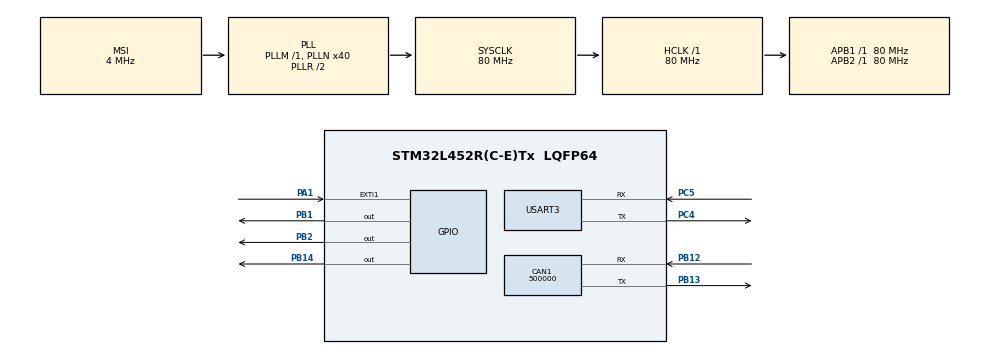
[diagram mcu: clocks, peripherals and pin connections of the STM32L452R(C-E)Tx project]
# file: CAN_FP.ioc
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Mcu.Family=STM32L4
RCC.MSI_VALUE=4000000
NVIC.CAN1_RX1_IRQn=true\:0\:0\:false\:false\:true\:true\:true
RCC.CortexFreq_Value=80000000
PA13\ (JTMS/SWDIO).Mode=Serial_Wire
PH0-OSC_IN\ (PH0).Signal=RCC_OSC_IN
CAN1.CalculateBaudRate=500000
PC4.Signal=USART3_TX
USART3.SwapParam=ADVFEATURE_SWAP_DISABLE
PC5.Mode=Asynchronous
PB13.Signal=CAN1_TX
PH1-OSC_OUT\ (PH1).Signal=RCC_OSC_OUT
RCC.SYSCLKSource=RCC_SYSCLKSOURCE_PLLCLK
ProjectManager.StackSize=0x400
USART3.VirtualMode-Asynchronous=VM_ASYNC
NVIC.EXTI1_IRQn=true\:0\:0\:false\:false\:true\:true\:true
PA14\ (JTCK/SWCLK).Signal=SYS_JTCK-SWCLK
CAN1.BS2=CAN_BS2_4TQ
CAN1.BS1=CAN_BS1_5TQ
ProjectManager.TargetToolchain=STM32CubeIDE
NVIC.CAN1_TX_IRQn=true\:0\:0\:false\:false\:true\:true\:true
RCC.HCLKFreq_Value=80000000
RCC.APB2TimFreq_Value=80000000
RCC.USBFreq_Value=16000000
NVIC.CAN1_SCE_IRQn=true\:0\:0\:false\:false\:true\:true\:true
RCC.LSE_VALUE=32768
PA1.Signal=GPXTI1
RCC.AHBFreq_Value=80000000
PB14.Signal=GPIO_Output
PH1-OSC_OUT\ (PH1).Mode=HSE-External-Oscillator
RCC.HSE_VALUE=8000000
PB2.Signal=GPIO_Output
board=custom
RCC.VCOOutputFreq_Value=160000000
RCC.APB2Freq_Value=80000000
RCC.ADCFreq_Value=16000000
PA14\ (JTCK/SWCLK).Mode=Serial_Wire
Mcu.Name=STM32L452R(C-E)Tx
RCC.SYSCLKFreq_VALUE=80000000
Mcu.Package=LQFP64
PB1.Signal=GPIO_Output
PB12.Mode=CAN_Activate
ProjectManager.HeapSize=0x200
RCC.HSI_VALUE=16000000
NVIC.PriorityGroup=NVIC_PRIORITYGROUP_4
RCC.PLLN=40
RCC.APB1TimFreq_Value=80000000
PC5.Signal=USART3_RX
PB13.Mode=CAN_Activate
RCC.APB1Freq_Value=80000000
CAN1.CalculateTimeBit=2000.00
PH0-OSC_IN\ (PH0).Mode=HSE-External-Oscillator
PB12.Signal=CAN1_RX
PC4.Mode=Asynchronous
NVIC.CAN1_RX0_IRQn=true\:0\:0\:false\:false\:true\:true\:true
RCC.HSI48_VALUE=48000000
PA13\ (JTMS/SWDIO).Signal=SYS_JTMS-SWDIO
CAN1.CalculateTimeQuantum=200.0

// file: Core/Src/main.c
/* USER CODE BEGIN Header */
/**
  ******************************************************************************
  * @file           : main.c
  * @brief          : Main program body
  ******************************************************************************
  * @attention
  *
  * <h2><center>&copy; Copyright (c) 2021 STMicroelectronics.
  * All rights reserved.</center></h2>
  *
  * This software component is licensed by ST under BSD 3-Clause license,
  * the "License"; You may not use this file except in compliance with the
  * License. You may obtain a copy of the License at:
  *                        opensource.org/licenses/BSD-3-Clause
  *
  ******************************************************************************
  */
/* USER CODE END Header */
#include "main.h"

CAN_HandleTypeDef hcan1;

UART_HandleTypeDef huart3;

/* USER CODE BEGIN PV */
//unsigned char arr[70]="1578922367.777150;1;14FEF131;1;8;8;0;0;0;CFFFFFF300FFFF30";
//int top = -1;
uint8_t i;
//CAN_Handler1 canh1;
//CAN_Handler1 canh2;
/* USER CODE END PV */

void SystemClock_Config(void);
static void MX_GPIO_Init(void);
static void MX_CAN1_Init(void);
static void MX_USART3_UART_Init(void);
/* USER CODE BEGIN PFP */

CAN_FilterTypeDef fil;
CAN_TxHeaderTypeDef txhead;
CAN_RxHeaderTypeDef rxhead;
/* USER CODE END PFP */

/* USER CODE BEGIN 0 */
void CAN_INIT_BRIDGE()
{
	 MX_CAN1_Init();

}
void CAN_STB_BRIDGE()
{
	HAL_GPIO_WritePin(GPIOB,GPIO_PIN_14,0);

}
void CAN_CONFIG_BRIDGE()
{
	can_fil_config();

}

void CAN_ACTIVATE_BRIDGE()
{

HAL_CAN_ActivateNotification(&hcan1, CAN_IT_TX_MAILBOX_EMPTY|CAN_IT_RX_FIFO0_MSG_PENDING|CAN_IT_ERROR);

}
void CAN_START_BRIDGE()
{
	 HAL_CAN_Start(&hcan1);

}
/* USER CODE END 0 */

int main(void)
{

  /* MCU Configuration--------------------------------------------------------*/

  /* Reset of all peripherals, Initializes the Flash interface and the Systick. */
  HAL_Init();

  /* Configure the system clock */
  SystemClock_Config();

  /* Initialize all configured peripherals */
  MX_GPIO_Init();
  MX_CAN1_Init();
  MX_USART3_UART_Init();
  /* USER CODE BEGIN 2 */
  //CAN_INIT(&canh1,CAN_INIT_BRIDGE,CAN_STB_BRIDGE,CAN_CONFIG_BRIDGE);//can_init,can_stb,can_congfig
  //CAN_ACTIVATE(&canh1,CAN_ACTIVATE_BRIDGE,CAN_START_BRIDGE);
  HAL_GPIO_WritePin(GPIOB,GPIO_PIN_14,0);
  can_fil_config();
  HAL_CAN_ActivateNotification(&hcan1,CAN_IT_RX_FIFO0_MSG_PENDING|CAN_IT_ERROR);
  if(HAL_CAN_Start(&hcan1)!=HAL_OK)
   {
 	  HAL_UART_Transmit(&huart3,"error in can_start\n\r", 20, 1000);
 	  Error_Handler();

   }
  //HAL_SuspendTick();
      //HAL_GPIO_WritePin(GPIOA, GPIO_PIN_1, GPIO_PIN_SET);//indication to sleep mode
      //HAL_PWR_EnterSLEEPMode(PWR_MAINREGULATOR_ON, PWR_SLEEPENTRY_WFI);
      //HAL_ResumeTick();
  can_tx(); can_tx();

  /* USER CODE END 2 */

  /* Infinite loop */
  /* USER CODE BEGIN WHILE */
  while (1)
  {
//	  HAL_GPIO_WritePin(GPIOA, GPIO_PIN_1, 1);
//	  HAL_Delay(1000);
//	  HAL_GPIO_WritePin(GPIOA, GPIO_PIN_1, 0);
//	  	  HAL_Delay(1000);
	  //can_tx();
    /* USER CODE END WHILE */

  }
}

void SystemClock_Config(void)
{
  RCC_OscInitTypeDef RCC_OscInitStruct = {0};
  RCC_ClkInitTypeDef RCC_ClkInitStruct = {0};
  RCC_PeriphCLKInitTypeDef PeriphClkInit = {0};

  /** Initializes the RCC Oscillators according to the specified parameters
  * in the RCC_OscInitTypeDef structure.
  */
  RCC_OscInitStruct.OscillatorType = RCC_OSCILLATORTYPE_MSI;
  RCC_OscInitStruct.MSIState = RCC_MSI_ON;
  RCC_OscInitStruct.MSICalibrationValue = 0;
  RCC_OscInitStruct.MSIClockRange = RCC_MSIRANGE_6;
  RCC_OscInitStruct.PLL.PLLState = RCC_PLL_ON;
  RCC_OscInitStruct.PLL.PLLSource = RCC_PLLSOURCE_MSI;
  RCC_OscInitStruct.PLL.PLLM = 1;
  RCC_OscInitStruct.PLL.PLLN = 40;
  RCC_OscInitStruct.PLL.PLLP = RCC_PLLP_DIV7;
  RCC_OscInitStruct.PLL.PLLQ = RCC_PLLQ_DIV2;
  RCC_OscInitStruct.PLL.PLLR = RCC_PLLR_DIV2;
  if (HAL_RCC_OscConfig(&RCC_OscInitStruct) != HAL_OK)
  {
    Error_Handler();
  }
  /** Initializes the CPU, AHB and APB buses clocks
  */
  RCC_ClkInitStruct.ClockType = RCC_CLOCKTYPE_HCLK|RCC_CLOCKTYPE_SYSCLK
                              |RCC_CLOCKTYPE_PCLK1|RCC_CLOCKTYPE_PCLK2;
  RCC_ClkInitStruct.SYSCLKSource = RCC_SYSCLKSOURCE_PLLCLK;
  RCC_ClkInitStruct.AHBCLKDivider = RCC_SYSCLK_DIV1;
  RCC_ClkInitStruct.APB1CLKDivider = RCC_HCLK_DIV1;
  RCC_ClkInitStruct.APB2CLKDivider = RCC_HCLK_DIV1;

  if (HAL_RCC_ClockConfig(&RCC_ClkInitStruct, FLASH_LATENCY_4) != HAL_OK)
  {
    Error_Handler();
  }
  PeriphClkInit.PeriphClockSelection = RCC_PERIPHCLK_USART3;
  PeriphClkInit.Usart3ClockSelection = RCC_USART3CLKSOURCE_PCLK1;
  if (HAL_RCCEx_PeriphCLKConfig(&PeriphClkInit) != HAL_OK)
  {
    Error_Handler();
  }
  /** Configure the main internal regulator output voltage
  */
  if (HAL_PWREx_ControlVoltageScaling(PWR_REGULATOR_VOLTAGE_SCALE1) != HAL_OK)
  {
    Error_Handler();
  }
}

static void MX_CAN1_Init(void)
{

  hcan1.Instance = CAN1;
  hcan1.Init.Prescaler = 16;
  hcan1.Init.Mode = CAN_MODE_NORMAL;
  hcan1.Init.SyncJumpWidth = CAN_SJW_1TQ;
  hcan1.Init.TimeSeg1 = CAN_BS1_5TQ;
  hcan1.Init.TimeSeg2 = CAN_BS2_4TQ;
  hcan1.Init.TimeTriggeredMode = DISABLE;
  hcan1.Init.AutoBusOff = DISABLE;
  hcan1.Init.AutoWakeUp = DISABLE;
  hcan1.Init.AutoRetransmission = DISABLE;
  hcan1.Init.ReceiveFifoLocked = DISABLE;
  hcan1.Init.TransmitFifoPriority = DISABLE;
  if (HAL_CAN_Init(&hcan1) != HAL_OK)
  {
    Error_Handler();
  }

}

static void MX_USART3_UART_Init(void)
{

  huart3.Instance = USART3;
  huart3.Init.BaudRate = 115200;
  huart3.Init.WordLength = UART_WORDLENGTH_8B;
  huart3.Init.StopBits = UART_STOPBITS_1;
  huart3.Init.Parity = UART_PARITY_NONE;
  huart3.Init.Mode = UART_MODE_TX_RX;
  huart3.Init.HwFlowCtl = UART_HWCONTROL_NONE;
  huart3.Init.OverSampling = UART_OVERSAMPLING_16;
  huart3.Init.OneBitSampling = UART_ONE_BIT_SAMPLE_DISABLE;
  huart3.AdvancedInit.AdvFeatureInit = UART_ADVFEATURE_NO_INIT;
  if (HAL_UART_Init(&huart3) != HAL_OK)
  {
    Error_Handler();
  }

}

static void MX_GPIO_Init(void)
{
  GPIO_InitTypeDef GPIO_InitStruct = {0};

  /* GPIO Ports Clock Enable */
  __HAL_RCC_GPIOH_CLK_ENABLE();
  __HAL_RCC_GPIOA_CLK_ENABLE();
  __HAL_RCC_GPIOC_CLK_ENABLE();
  __HAL_RCC_GPIOB_CLK_ENABLE();

  /*Configure GPIO pin Output Level */
  HAL_GPIO_WritePin(GPIOB, GPIO_PIN_1|GPIO_PIN_2|GPIO_PIN_14, GPIO_PIN_RESET);

  /*Configure GPIO pin : PA1 */
  GPIO_InitStruct.Pin = GPIO_PIN_1;
  GPIO_InitStruct.Mode = GPIO_MODE_IT_RISING;
  GPIO_InitStruct.Pull = GPIO_NOPULL;
  HAL_GPIO_Init(GPIOA, &GPIO_InitStruct);

  /*Configure GPIO pins : PB1 PB2 PB14 */
  GPIO_InitStruct.Pin = GPIO_PIN_1|GPIO_PIN_2|GPIO_PIN_14;
  GPIO_InitStruct.Mode = GPIO_MODE_OUTPUT_PP;
  GPIO_InitStruct.Pull = GPIO_NOPULL;
  GPIO_InitStruct.Speed = GPIO_SPEED_FREQ_LOW;
  HAL_GPIO_Init(GPIOB, &GPIO_InitStruct);

  /* EXTI interrupt init*/
  HAL_NVIC_SetPriority(EXTI1_IRQn, 0, 0);
  HAL_NVIC_EnableIRQ(EXTI1_IRQn);

}

void Error_Handler(void)
{
  __disable_irq();
  while (1)
  {
  }
}

/************************ (C) COPYRIGHT STMicroelectronics *****END OF FILE****/
